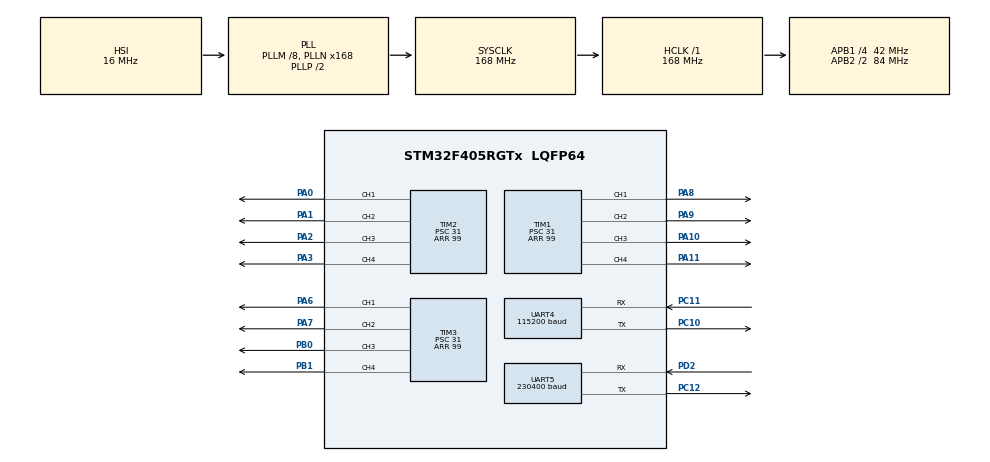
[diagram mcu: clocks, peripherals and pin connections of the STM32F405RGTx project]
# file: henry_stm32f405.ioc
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Dma.Request0=UART5_RX
Dma.Request1=UART5_TX
Dma.Request2=UART4_RX
Dma.Request3=UART4_TX
Dma.UART4_RX.2.Direction=DMA_PERIPH_TO_MEMORY
Dma.UART4_RX.2.FIFOMode=DMA_FIFOMODE_DISABLE
Dma.UART4_RX.2.Instance=DMA1_Stream2
Dma.UART4_RX.2.MemDataAlignment=DMA_MDATAALIGN_BYTE
Dma.UART4_RX.2.MemInc=DMA_MINC_ENABLE
Dma.UART4_RX.2.Mode=DMA_CIRCULAR
Dma.UART4_RX.2.PeriphDataAlignment=DMA_PDATAALIGN_BYTE
Dma.UART4_RX.2.PeriphInc=DMA_PINC_DISABLE
Dma.UART4_RX.2.Priority=DMA_PRIORITY_LOW
Dma.UART4_TX.3.Direction=DMA_MEMORY_TO_PERIPH
Dma.UART4_TX.3.FIFOMode=DMA_FIFOMODE_DISABLE
Dma.UART4_TX.3.Instance=DMA1_Stream4
Dma.UART4_TX.3.MemDataAlignment=DMA_MDATAALIGN_BYTE
Dma.UART4_TX.3.MemInc=DMA_MINC_ENABLE
Dma.UART4_TX.3.Mode=DMA_CIRCULAR
Dma.UART4_TX.3.PeriphDataAlignment=DMA_PDATAALIGN_BYTE
Dma.UART4_TX.3.PeriphInc=DMA_PINC_DISABLE
Dma.UART4_TX.3.Priority=DMA_PRIORITY_LOW
Dma.UART5_RX.0.Direction=DMA_PERIPH_TO_MEMORY
Dma.UART5_RX.0.FIFOMode=DMA_FIFOMODE_DISABLE
Dma.UART5_RX.0.Instance=DMA1_Stream0
Dma.UART5_RX.0.MemDataAlignment=DMA_MDATAALIGN_BYTE
Dma.UART5_RX.0.MemInc=DMA_MINC_ENABLE
Dma.UART5_RX.0.Mode=DMA_NORMAL
Dma.UART5_RX.0.PeriphDataAlignment=DMA_PDATAALIGN_BYTE
Dma.UART5_RX.0.PeriphInc=DMA_PINC_DISABLE
Dma.UART5_RX.0.Priority=DMA_PRIORITY_LOW
Dma.UART5_TX.1.Direction=DMA_MEMORY_TO_PERIPH
Dma.UART5_TX.1.FIFOMode=DMA_FIFOMODE_DISABLE
Dma.UART5_TX.1.Instance=DMA1_Stream7
Dma.UART5_TX.1.MemDataAlignment=DMA_MDATAALIGN_BYTE
Dma.UART5_TX.1.MemInc=DMA_MINC_ENABLE
Dma.UART5_TX.1.Mode=DMA_NORMAL
Dma.UART5_TX.1.PeriphDataAlignment=DMA_PDATAALIGN_BYTE
Dma.UART5_TX.1.PeriphInc=DMA_PINC_DISABLE
Dma.UART5_TX.1.Priority=DMA_PRIORITY_LOW
Mcu.Family=STM32F4
Mcu.Name=STM32F405RGTx
Mcu.Package=LQFP64
NVIC.DMA1_Stream0_IRQn=true\:0\:0\:false\:false\:true\:false\:true\:true
NVIC.DMA1_Stream2_IRQn=true\:0\:0\:false\:false\:true\:false\:true\:true
NVIC.DMA1_Stream4_IRQn=true\:0\:0\:false\:false\:true\:false\:true\:true
NVIC.DMA1_Stream7_IRQn=true\:0\:0\:true\:false\:true\:false\:true\:true
NVIC.PriorityGroup=NVIC_PRIORITYGROUP_4
NVIC.TIM7_IRQn=true\:2\:0\:true\:false\:true\:true\:true\:true
NVIC.UART4_IRQn=true\:0\:0\:false\:false\:true\:true\:true\:true
NVIC.UART5_IRQn=true\:0\:0\:true\:false\:true\:true\:true\:true
PA0-WKUP.Signal=S_TIM2_CH1_ETR
PA1.Signal=S_TIM2_CH2
PA10.Signal=S_TIM1_CH3
PA11.Signal=S_TIM1_CH4
PA13.Mode=Serial_Wire
PA13.Signal=SYS_JTMS-SWDIO
PA14.Mode=Serial_Wire
PA14.Signal=SYS_JTCK-SWCLK
PA2.Signal=S_TIM2_CH3
PA3.Signal=S_TIM2_CH4
PA6.Signal=S_TIM3_CH1
PA7.Signal=S_TIM3_CH2
PA8.Signal=S_TIM1_CH1
PA9.Signal=S_TIM1_CH2
PB0.Signal=S_TIM3_CH3
PB1.Signal=S_TIM3_CH4
PC10.Mode=Asynchronous
PC10.Signal=UART4_TX
PC11.Mode=Asynchronous
PC11.Signal=UART4_RX
PC12.Mode=Asynchronous
PC12.Signal=UART5_TX
PD2.Mode=Asynchronous
PD2.Signal=UART5_RX
ProjectManager.HeapSize=0x200
ProjectManager.StackSize=0x400
ProjectManager.TargetToolchain=MDK-ARM V5.32
RCC.48MHZClocksFreq_Value=84000000
RCC.AHBFreq_Value=168000000
RCC.APB1CLKDivider=RCC_HCLK_DIV4
RCC.APB1Freq_Value=42000000
RCC.APB1TimFreq_Value=84000000
RCC.APB2CLKDivider=RCC_HCLK_DIV2
RCC.APB2Freq_Value=84000000
RCC.APB2TimFreq_Value=168000000
RCC.CortexFreq_Value=168000000
RCC.HCLKFreq_Value=168000000
RCC.HSE_VALUE=25000000
RCC.HSI_VALUE=16000000
RCC.LSE_VALUE=32768
RCC.PLLM=8
RCC.PLLN=168
RCC.SYSCLKFreq_VALUE=168000000
RCC.SYSCLKSource=RCC_SYSCLKSOURCE_PLLCLK
RCC.VCOOutputFreq_Value=336000000
SH.S_TIM1_CH1.0=TIM1_CH1,PWM Generation1 CH1
SH.S_TIM1_CH2.0=TIM1_CH2,PWM Generation2 CH2
SH.S_TIM1_CH3.0=TIM1_CH3,PWM Generation3 CH3
SH.S_TIM1_CH4.0=TIM1_CH4,PWM Generation4 CH4
SH.S_TIM2_CH1_ETR.0=TIM2_CH1,PWM Generation1 CH1
SH.S_TIM2_CH2.0=TIM2_CH2,PWM Generation2 CH2
SH.S_TIM2_CH3.0=TIM2_CH3,PWM Generation3 CH3
SH.S_TIM2_CH4.0=TIM2_CH4,PWM Generation4 CH4
SH.S_TIM3_CH1.0=TIM3_CH1,PWM Generation1 CH1
SH.S_TIM3_CH2.0=TIM3_CH2,PWM Generation2 CH2
SH.S_TIM3_CH3.0=TIM3_CH3,PWM Generation3 CH3
SH.S_TIM3_CH4.0=TIM3_CH4,PWM Generation4 CH4
TIM1.Channel-PWM\ Generation1\ CH1=TIM_CHANNEL_1
TIM1.Channel-PWM\ Generation2\ CH2=TIM_CHANNEL_2
TIM1.Channel-PWM\ Generation3\ CH3=TIM_CHANNEL_3
TIM1.Channel-PWM\ Generation4\ CH4=TIM_CHANNEL_4
TIM1.Period=99
TIM1.Prescaler=31
TIM2.Channel-PWM\ Generation1\ CH1=TIM_CHANNEL_1
TIM2.Channel-PWM\ Generation2\ CH2=TIM_CHANNEL_2
TIM2.Channel-PWM\ Generation3\ CH3=TIM_CHANNEL_3
TIM2.Channel-PWM\ Generation4\ CH4=TIM_CHANNEL_4
TIM2.Period=99
TIM2.Prescaler=31
TIM3.Channel-PWM\ Generation1\ CH1=TIM_CHANNEL_1
TIM3.Channel-PWM\ Generation2\ CH2=TIM_CHANNEL_2
TIM3.Channel-PWM\ Generation3\ CH3=TIM_CHANNEL_3
TIM3.Channel-PWM\ Generation4\ CH4=TIM_CHANNEL_4
TIM3.Period=99
TIM3.Prescaler=31
TIM7.Period=10000-1
TIM7.Prescaler=8400-1
UART4.BaudRate=115200
UART4.VirtualMode=Asynchronous
UART5.BaudRate=230400
UART5.VirtualMode=Asynchronous
VP_TIM1_VS_ClockSourceINT.Mode=Internal
VP_TIM2_VS_ClockSourceINT.Mode=Internal
VP_TIM3_VS_ClockSourceINT.Mode=Internal
VP_TIM7_VS_ClockSourceINT.Mode=Enable_Timer
board=custom

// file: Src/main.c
/* USER CODE BEGIN Header */
/**
  ******************************************************************************
  * @file           : main.c
  * @brief          : Main program body
  ******************************************************************************
  * @attention
  *
  * <h2><center>&copy; Copyright (c) 2022 STMicroelectronics.
  * All rights reserved.</center></h2>
  *
  * This software component is licensed by ST under BSD 3-Clause license,
  * the "License"; You may not use this file except in compliance with the
  * License. You may obtain a copy of the License at:
  *                        opensource.org/licenses/BSD-3-Clause
  *
  ******************************************************************************
  */
/* USER CODE END Header */
#include "main.h"
#include "dma.h"
#include "tim.h"
#include "usart.h"
#include "gpio.h"

/* USER CODE BEGIN Includes */
#include "stdio.h"
/* USER CODE END Includes */

/* USER CODE BEGIN PD */
uint8_t ubuf[128];
#define INFO(...) HAL_UART_Transmit(&huart4,\
										 (uint8_t *)ubuf,\
										 sprintf((char *)ubuf,__VA_ARGS__),\
										 0xffff)
/* USER CODE END PD */

/* USER CODE BEGIN PM */
unsigned char buf[28];
union speed
{
    float speed;
    unsigned char data[4];
} motorspeed[6];

uint8_t buf_jy901[55];
const unsigned char header[2] = { 0x55, 0xaa };
const unsigned char ender[2] = { 0x0d, 0x0a };

void motor_test()
{	 __HAL_TIM_SET_COMPARE(&htim1,TIM_CHANNEL_1,60);

	 __HAL_TIM_SET_COMPARE(&htim1,TIM_CHANNEL_2,0);
	 HAL_Delay(1000);
	 __HAL_TIM_SET_COMPARE(&htim1,TIM_CHANNEL_1,0);
	 __HAL_TIM_SET_COMPARE(&htim1,TIM_CHANNEL_2,0);
	 HAL_Delay(500);
	 __HAL_TIM_SET_COMPARE(&htim1,TIM_CHANNEL_1,0);
	 __HAL_TIM_SET_COMPARE(&htim1,TIM_CHANNEL_2,60);
	 HAL_Delay(1000);
	 __HAL_TIM_SET_COMPARE(&htim1,TIM_CHANNEL_1,0);
	 __HAL_TIM_SET_COMPARE(&htim1,TIM_CHANNEL_2,0);

	__HAL_TIM_SET_COMPARE(&htim1,TIM_CHANNEL_3,60);
	 __HAL_TIM_SET_COMPARE(&htim1,TIM_CHANNEL_4,0);
	 HAL_Delay(1000);
	 __HAL_TIM_SET_COMPARE(&htim1,TIM_CHANNEL_3,0);
	 __HAL_TIM_SET_COMPARE(&htim1,TIM_CHANNEL_4,0);
	 HAL_Delay(500);
	 __HAL_TIM_SET_COMPARE(&htim1,TIM_CHANNEL_3,0);
	 __HAL_TIM_SET_COMPARE(&htim1,TIM_CHANNEL_4,60);
	 HAL_Delay(1000);
	 __HAL_TIM_SET_COMPARE(&htim1,TIM_CHANNEL_3,0);
	 __HAL_TIM_SET_COMPARE(&htim1,TIM_CHANNEL_4,0);

	 __HAL_TIM_SET_COMPARE(&htim2,TIM_CHANNEL_1,60);
	 __HAL_TIM_SET_COMPARE(&htim2,TIM_CHANNEL_2,0);
	 HAL_Delay(1000);
	 __HAL_TIM_SET_COMPARE(&htim2,TIM_CHANNEL_1,0);
	 __HAL_TIM_SET_COMPARE(&htim2,TIM_CHANNEL_2,0);
	 HAL_Delay(500);
	 __HAL_TIM_SET_COMPARE(&htim2,TIM_CHANNEL_1,0);
	 __HAL_TIM_SET_COMPARE(&htim2,TIM_CHANNEL_2,60);
	 HAL_Delay(1000);
	 __HAL_TIM_SET_COMPARE(&htim2,TIM_CHANNEL_1,0);
	 __HAL_TIM_SET_COMPARE(&htim2,TIM_CHANNEL_2,0);

	 __HAL_TIM_SET_COMPARE(&htim2,TIM_CHANNEL_3,60);
	 __HAL_TIM_SET_COMPARE(&htim2,TIM_CHANNEL_4,0);
	 HAL_Delay(1000);
	 __HAL_TIM_SET_COMPARE(&htim2,TIM_CHANNEL_3,0);
	 __HAL_TIM_SET_COMPARE(&htim2,TIM_CHANNEL_4,0);
	 HAL_Delay(500);
	 __HAL_TIM_SET_COMPARE(&htim2,TIM_CHANNEL_3,0);
	 __HAL_TIM_SET_COMPARE(&htim2,TIM_CHANNEL_4,60);
	 HAL_Delay(1000);
	 __HAL_TIM_SET_COMPARE(&htim2,TIM_CHANNEL_3,0);
	 __HAL_TIM_SET_COMPARE(&htim2,TIM_CHANNEL_4,0);

	 __HAL_TIM_SET_COMPARE(&htim3,TIM_CHANNEL_1,60);
	 __HAL_TIM_SET_COMPARE(&htim3,TIM_CHANNEL_2,0);
	 HAL_Delay(1000);
	 __HAL_TIM_SET_COMPARE(&htim3,TIM_CHANNEL_1,0);
	 __HAL_TIM_SET_COMPARE(&htim3,TIM_CHANNEL_2,0);
	 HAL_Delay(500);
	 __HAL_TIM_SET_COMPARE(&htim3,TIM_CHANNEL_1,0);
	 __HAL_TIM_SET_COMPARE(&htim3,TIM_CHANNEL_2,60);
	 HAL_Delay(1000);
	 __HAL_TIM_SET_COMPARE(&htim3,TIM_CHANNEL_1,0);
	 __HAL_TIM_SET_COMPARE(&htim3,TIM_CHANNEL_2,0);

	 __HAL_TIM_SET_COMPARE(&htim3,TIM_CHANNEL_3,60);
	 __HAL_TIM_SET_COMPARE(&htim3,TIM_CHANNEL_4,0);
	 HAL_Delay(1000);
	 __HAL_TIM_SET_COMPARE(&htim3,TIM_CHANNEL_3,0);
	 __HAL_TIM_SET_COMPARE(&htim3,TIM_CHANNEL_4,0);
	 HAL_Delay(500);
	 __HAL_TIM_SET_COMPARE(&htim3,TIM_CHANNEL_3,0);
	 __HAL_TIM_SET_COMPARE(&htim3,TIM_CHANNEL_4,60);
	 HAL_Delay(1000);
	 __HAL_TIM_SET_COMPARE(&htim3,TIM_CHANNEL_3,0);
	 __HAL_TIM_SET_COMPARE(&htim3,TIM_CHANNEL_4,0);
}

void set_motorspeed(float speed,uint8_t num)
{ switch(num)
	{case 3:
		if(speed>0)
		{__HAL_TIM_SET_COMPARE(&htim1,TIM_CHANNEL_1,speed);
		 __HAL_TIM_SET_COMPARE(&htim1,TIM_CHANNEL_2,0);
		}
		else
		{__HAL_TIM_SET_COMPARE(&htim1,TIM_CHANNEL_1,0);
		 __HAL_TIM_SET_COMPARE(&htim1,TIM_CHANNEL_2,-speed);
		}
	case 2:
		if(speed>0)
		{__HAL_TIM_SET_COMPARE(&htim1,TIM_CHANNEL_3,speed);
		 __HAL_TIM_SET_COMPARE(&htim1,TIM_CHANNEL_4,0);
		}
		else
		{__HAL_TIM_SET_COMPARE(&htim1,TIM_CHANNEL_3,0);
		 __HAL_TIM_SET_COMPARE(&htim1,TIM_CHANNEL_4,-speed);
		}
	case 1:
		if(speed>0)
		{__HAL_TIM_SET_COMPARE(&htim2,TIM_CHANNEL_1,speed);
		 __HAL_TIM_SET_COMPARE(&htim2,TIM_CHANNEL_2,0);
		}
		else
		{__HAL_TIM_SET_COMPARE(&htim2,TIM_CHANNEL_1,0);
		 __HAL_TIM_SET_COMPARE(&htim2,TIM_CHANNEL_2,-speed);
		}
	case 6:
		if(speed>0)
		{__HAL_TIM_SET_COMPARE(&htim2,TIM_CHANNEL_3,speed);
		 __HAL_TIM_SET_COMPARE(&htim2,TIM_CHANNEL_4,0);
		}
		else
		{__HAL_TIM_SET_COMPARE(&htim2,TIM_CHANNEL_3,0);
		 __HAL_TIM_SET_COMPARE(&htim2,TIM_CHANNEL_4,-speed);
		}
	case 5:
		if(speed>0)
		{__HAL_TIM_SET_COMPARE(&htim3,TIM_CHANNEL_1,speed);
		 __HAL_TIM_SET_COMPARE(&htim3,TIM_CHANNEL_2,0);
		}
		else
		{__HAL_TIM_SET_COMPARE(&htim3,TIM_CHANNEL_1,0);
		 __HAL_TIM_SET_COMPARE(&htim3,TIM_CHANNEL_2,-speed);
		}
	case 4:
		if(speed>0)
		{__HAL_TIM_SET_COMPARE(&htim3,TIM_CHANNEL_3,speed);
		 __HAL_TIM_SET_COMPARE(&htim3,TIM_CHANNEL_4,0);
		}
		else
		{__HAL_TIM_SET_COMPARE(&htim3,TIM_CHANNEL_3,0);
		 __HAL_TIM_SET_COMPARE(&htim3,TIM_CHANNEL_4,-speed);
		}
	}
}

void motor_start()
{
	for(size_t i=0;i<6;i++)
	{set_motorspeed(motorspeed[i].speed,i+1);}
}
void PWM_init()
{	HAL_TIM_PWM_Start(&htim1,TIM_CHANNEL_1);//right 1 motor 1
	HAL_TIM_PWM_Start(&htim1,TIM_CHANNEL_2);
	HAL_TIM_PWM_Start(&htim1,TIM_CHANNEL_3);//right 2  motor 2
	HAL_TIM_PWM_Start(&htim1,TIM_CHANNEL_4);
	HAL_TIM_PWM_Start(&htim2,TIM_CHANNEL_1);
	HAL_TIM_PWM_Start(&htim2,TIM_CHANNEL_2);
	HAL_TIM_PWM_Start(&htim2,TIM_CHANNEL_3);//left 3  motor 3
	HAL_TIM_PWM_Start(&htim2,TIM_CHANNEL_4);
	HAL_TIM_PWM_Start(&htim3,TIM_CHANNEL_1);//left 2  motor4
	HAL_TIM_PWM_Start(&htim3,TIM_CHANNEL_2);
	HAL_TIM_PWM_Start(&htim3,TIM_CHANNEL_3);// error motor
	HAL_TIM_PWM_Start(&htim3,TIM_CHANNEL_4);
}
/* USER CODE END PM */

/* USER CODE BEGIN PV */
void HAL_UART_RxCpltCallback(UART_HandleTypeDef *huart)
{
  if(huart == &huart4)
  {
	  INFO("success!");
  if (buf[0]==header[0]&&buf[1]==header[1])
{
		for(size_t i =0;i<4;i++)
{		 motorspeed[0].data[i]=buf[i + 2];
         motorspeed[1].data[i]=buf[i + 6];
		 motorspeed[2].data[i]=buf[i + 10];
		 motorspeed[3].data[i]=buf[i + 14];
		 motorspeed[4].data[i]=buf[i + 18];
		 motorspeed[5].data[i]=buf[i + 22];
		}

	}

//	HAL_UART_Receive_IT(&huart4,buf,sizeof(buf));
  }
//	if(huart == &huart5)
//	{
//		HAL_UART_Transmit(&huart4,buf_jy901,sizeof(buf_jy901),0xffff);
//	}
}
/* USER CODE END PV */

void SystemClock_Config(void);

int main(void)
{

  /* MCU Configuration--------------------------------------------------------*/

  /* Reset of all peripherals, Initializes the Flash interface and the Systick. */
  HAL_Init();

  /* Configure the system clock */
  SystemClock_Config();

  /* Initialize all configured peripherals */
  MX_GPIO_Init();
  MX_TIM7_Init();
  MX_UART5_Init();
  MX_TIM1_Init();
  MX_TIM2_Init();
  MX_TIM3_Init();
  MX_DMA_Init();
  MX_UART4_Init();
  /* USER CODE BEGIN 2 */
  PWM_init();

//  HAL_UART_Receive_IT(&huart4,buf,sizeof(buf));
  motor_test();
  HAL_UART_Receive_DMA(&huart4,buf,sizeof(buf));

//  HAL_UART_Receive_DMA(&huart5,buf_jy901,sizeof(buf_jy901));
  /* USER CODE END 2 */

  /* Infinite loop */
  while (1)
  {

    /* USER CODE BEGIN 3 */
  /* USER CODE BEGIN 2 */
	  motor_start();
  }
  /* USER CODE END 3 */
}

void SystemClock_Config(void)
{
  RCC_OscInitTypeDef RCC_OscInitStruct = {0};
  RCC_ClkInitTypeDef RCC_ClkInitStruct = {0};

  /** Configure the main internal regulator output voltage
  */
  __HAL_RCC_PWR_CLK_ENABLE();
  __HAL_PWR_VOLTAGESCALING_CONFIG(PWR_REGULATOR_VOLTAGE_SCALE1);

  /** Initializes the RCC Oscillators according to the specified parameters
  * in the RCC_OscInitTypeDef structure.
  */
  RCC_OscInitStruct.OscillatorType = RCC_OSCILLATORTYPE_HSI;
  RCC_OscInitStruct.HSIState = RCC_HSI_ON;
  RCC_OscInitStruct.HSICalibrationValue = RCC_HSICALIBRATION_DEFAULT;
  RCC_OscInitStruct.PLL.PLLState = RCC_PLL_ON;
  RCC_OscInitStruct.PLL.PLLSource = RCC_PLLSOURCE_HSI;
  RCC_OscInitStruct.PLL.PLLM = 8;
  RCC_OscInitStruct.PLL.PLLN = 168;
  RCC_OscInitStruct.PLL.PLLP = RCC_PLLP_DIV2;
  RCC_OscInitStruct.PLL.PLLQ = 4;
  if (HAL_RCC_OscConfig(&RCC_OscInitStruct) != HAL_OK)
  {
    Error_Handler();
  }

  /** Initializes the CPU, AHB and APB buses clocks
  */
  RCC_ClkInitStruct.ClockType = RCC_CLOCKTYPE_HCLK|RCC_CLOCKTYPE_SYSCLK
                              |RCC_CLOCKTYPE_PCLK1|RCC_CLOCKTYPE_PCLK2;
  RCC_ClkInitStruct.SYSCLKSource = RCC_SYSCLKSOURCE_PLLCLK;
  RCC_ClkInitStruct.AHBCLKDivider = RCC_SYSCLK_DIV1;
  RCC_ClkInitStruct.APB1CLKDivider = RCC_HCLK_DIV4;
  RCC_ClkInitStruct.APB2CLKDivider = RCC_HCLK_DIV2;

  if (HAL_RCC_ClockConfig(&RCC_ClkInitStruct, FLASH_LATENCY_5) != HAL_OK)
  {
    Error_Handler();
  }
}

/* USER CODE BEGIN 4 */

#pragma pack()

/* USER CODE END 4 */

void Error_Handler(void)
{
  __disable_irq();
  while (1)
  {
  }
}
